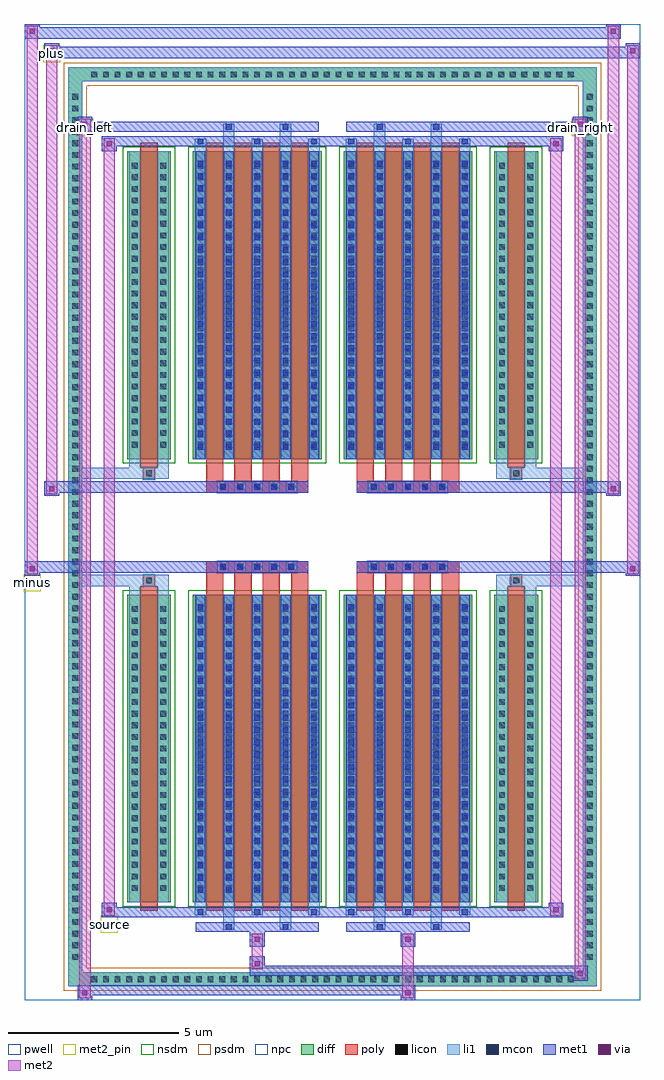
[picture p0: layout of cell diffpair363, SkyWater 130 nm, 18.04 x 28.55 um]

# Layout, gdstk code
import gdstk
lib = gdstk.Library(unit=1e-6, precision=5e-09)
def R(c, l, rs):  # rectangles x0, y0, x1, y1
    for r in rs: c.add(gdstk.rectangle(r[:2], r[2:], *l))
def A(c, l, x, y, w, h, nx, ny, dx, dy):  # array of equal rectangles
    R(c, l, [(x+i*dx, y+j*dy, x+i*dx+w, y+j*dy+h) for i in range(nx) for j in range(ny)])
def P(c, l, *ps):  # polygons
    for p in ps: c.add(gdstk.Polygon(p, *l))
pwell = (64, 44)
diff = (65, 20)
poly = (66, 20)
licon = (66, 44)
li1 = (67, 20)
mcon = (67, 44)
met1 = (68, 20)
via = (68, 44)
met2_pin = (69, 16)
met2 = (69, 20)
nsdm = (93, 44)
psdm = (94, 20)
npc = (95, 20)

diffpair363 = lib.new_cell('diffpair363')
R(diffpair363, pwell, [(-9,-13.84,9,14.71), (-6.32,-12.03,-0.01,-0.805), (0.01,-12.03,6.32,-0.805), (-6.32,0.805,-0.01,12.03), (0.01,0.805,6.32,12.03)])
A(diffpair363, diff, -7.175, -13.44, 0.41, 0.41, 42, 2, 0.34, 26.47)
A(diffpair363, diff, -7.73, -12.785, 0.41, 0.41, 1, 75, 0, 0.34)
A(diffpair363, diff, 7.32, -12.785, 0.41, 0.41, 1, 75, 0, 0.34)
R(diffpair363, diff, [(-7.175,-13.44,7.175,-13.03), (-7.73,-12.785,-7.32,12.785), (7.32,-12.785,7.73,12.785), (-6.01,-10.985,-4.73,-1.985), (-4.09,-10.985,-0.32,-1.985), (0.32,-10.985,4.09,-1.985), (4.73,-10.985,6.01,-1.985), (-6.01,1.985,-4.73,10.985), (-4.09,1.985,-0.32,10.985), (0.32,1.985,4.09,10.985), (4.73,1.985,6.01,10.985), (-7.175,13.03,7.175,13.44)])
P(diffpair363, diff, [(7.73,13.44),(-7.73,13.44),(-7.73,-13.03),(-7.32,-13.03),(-7.32,13.03),(7.32,13.03),(7.32,-13.03),(-7.32,-13.03),(-7.73,-13.03),(-7.73,-13.44),(7.73,-13.44)])
A(diffpair363, poly, -3.7, -11.235, 0.5, 9.5, 4, 2, 0.83, 12.97)
A(diffpair363, poly, 0.71, -11.235, 0.5, 9.5, 4, 2, 0.83, 12.97)
A(diffpair363, poly, -3.7, -1.735, 0.5, 0.4, 4, 2, 0.83, 3.07)
A(diffpair363, poly, 0.71, -1.735, 0.5, 0.4, 4, 2, 0.83, 3.07)
A(diffpair363, poly, -3.37, -1.335, 0.33, 0.33, 5, 2, 0.5, 2.34)
A(diffpair363, poly, 1.04, -1.335, 0.33, 0.33, 5, 2, 0.5, 2.34)
R(diffpair363, poly, [(-5.62,-11.235,-5.12,-1.735), (5.12,-11.235,5.62,-1.735), (-5.535,-1.735,-5.205,-1.405), (-5.535,-1.735,-5.205,-1.405), (5.205,-1.735,5.535,-1.405), (5.205,-1.735,5.535,-1.405), (-3.7,-1.335,-0.71,-1.005), (0.71,-1.335,3.7,-1.005), (-3.7,1.005,-0.71,1.335), (0.71,1.005,3.7,1.335), (-5.535,1.405,-5.205,1.735), (-5.535,1.405,-5.205,1.735), (5.205,1.405,5.535,1.735), (5.205,1.405,5.535,1.735), (-5.62,1.735,-5.12,11.235), (5.12,1.735,5.62,11.235)])
A(diffpair363, licon, -7.055, -13.32, 0.17, 0.17, 42, 2, 0.34, 26.47)
A(diffpair363, licon, -7.61, -12.665, 0.17, 0.17, 1, 75, 0, 0.34)
A(diffpair363, licon, 7.44, -12.665, 0.17, 0.17, 1, 75, 0, 0.34)
A(diffpair363, licon, -5.87, -10.65, 0.17, 0.17, 1, 25, 0, 0.34)
A(diffpair363, licon, -5.04, -10.65, 0.17, 0.17, 1, 25, 0, 0.34)
A(diffpair363, licon, -3.95, -10.65, 0.17, 0.17, 5, 25, 0.83, 0.34)
A(diffpair363, licon, 0.46, -10.65, 0.17, 0.17, 5, 25, 0.83, 0.34)
A(diffpair363, licon, 4.87, -10.65, 0.17, 0.17, 1, 25, 0, 0.34)
A(diffpair363, licon, 5.7, -10.65, 0.17, 0.17, 1, 25, 0, 0.34)
A(diffpair363, licon, -3.29, -1.255, 0.17, 0.17, 5, 2, 0.5, 2.34)
A(diffpair363, licon, 1.12, -1.255, 0.17, 0.17, 5, 2, 0.5, 2.34)
A(diffpair363, licon, -5.87, 2.32, 0.17, 0.17, 1, 25, 0, 0.34)
A(diffpair363, licon, -5.04, 2.32, 0.17, 0.17, 1, 25, 0, 0.34)
A(diffpair363, licon, -3.95, 2.32, 0.17, 0.17, 5, 25, 0.83, 0.34)
A(diffpair363, licon, 0.46, 2.32, 0.17, 0.17, 5, 25, 0.83, 0.34)
A(diffpair363, licon, 4.87, 2.32, 0.17, 0.17, 1, 25, 0, 0.34)
A(diffpair363, licon, 5.7, 2.32, 0.17, 0.17, 1, 25, 0, 0.34)
R(diffpair363, licon, [(-5.455,-1.655,-5.285,-1.485), (5.285,-1.655,5.455,-1.485), (-5.455,1.485,-5.285,1.655), (5.285,1.485,5.455,1.655)])
A(diffpair363, li1, -7.135, -13.4, 0.33, 0.33, 42, 2, 0.34, 26.47)
A(diffpair363, li1, -7.69, -12.745, 0.33, 0.33, 1, 75, 0, 0.34)
A(diffpair363, li1, 7.36, -12.745, 0.33, 0.33, 1, 75, 0, 0.34)
A(diffpair363, li1, -4.03, -11.36, 0.33, 0.375, 3, 2, 1.66, 22.345)
A(diffpair363, li1, -3.95, -11.36, 0.17, 0.17, 3, 2, 1.66, 22.55)
A(diffpair363, li1, 0.38, -11.36, 0.33, 0.375, 3, 2, 1.66, 22.345)
A(diffpair363, li1, 0.46, -11.36, 0.17, 0.17, 3, 2, 1.66, 22.55)
A(diffpair363, li1, -4.03, -10.985, 0.33, 9, 5, 2, 0.83, 12.97)
A(diffpair363, li1, 0.38, -10.985, 0.33, 9, 5, 2, 0.83, 12.97)
A(diffpair363, li1, -5.95, -10.73, 0.33, 0.33, 1, 25, 0, 0.34)
A(diffpair363, li1, -5.12, -10.73, 0.33, 0.33, 1, 25, 0, 0.34)
A(diffpair363, li1, -4.03, -10.73, 0.33, 0.33, 5, 25, 0.83, 0.34)
A(diffpair363, li1, 0.38, -10.73, 0.33, 0.33, 5, 25, 0.83, 0.34)
A(diffpair363, li1, 4.79, -10.73, 0.33, 0.33, 1, 25, 0, 0.34)
A(diffpair363, li1, 5.62, -10.73, 0.33, 0.33, 1, 25, 0, 0.34)
A(diffpair363, li1, -3.95, -10.71, 0.17, 0.17, 5, 24, 0.83, 0.36)
A(diffpair363, li1, -3.95, -10.71, 0.17, 8.45, 5, 2, 0.83, 12.97)
A(diffpair363, li1, 0.46, -10.71, 0.17, 0.17, 5, 24, 0.83, 0.36)
A(diffpair363, li1, 0.46, -10.71, 0.17, 8.45, 5, 2, 0.83, 12.97)
A(diffpair363, li1, -3.37, -1.335, 0.33, 0.33, 5, 2, 0.5, 2.34)
A(diffpair363, li1, 1.04, -1.335, 0.33, 0.33, 5, 2, 0.5, 2.34)
A(diffpair363, li1, -5.95, 2.24, 0.33, 0.33, 1, 25, 0, 0.34)
A(diffpair363, li1, -5.12, 2.24, 0.33, 0.33, 1, 25, 0, 0.34)
A(diffpair363, li1, -4.03, 2.24, 0.33, 0.33, 5, 25, 0.83, 0.34)
A(diffpair363, li1, 0.38, 2.24, 0.33, 0.33, 5, 25, 0.83, 0.34)
A(diffpair363, li1, 4.79, 2.24, 0.33, 0.33, 1, 25, 0, 0.34)
A(diffpair363, li1, 5.62, 2.24, 0.33, 0.33, 1, 25, 0, 0.34)
A(diffpair363, li1, -3.95, 2.26, 0.17, 0.17, 5, 24, 0.83, 0.36)
A(diffpair363, li1, 0.46, 2.26, 0.17, 0.17, 5, 24, 0.83, 0.36)
R(diffpair363, li1, [(-7.73,-13.44,-7.32,-13.03), (-7.73,-13.44,-7.32,-13.03), (-7.32,-13.44,7.32,-13.03), (7.32,-13.44,7.73,-13.03), (7.32,-13.44,7.73,-13.03), (-7.73,-13.03,-7.32,13.03), (7.32,-13.03,7.73,13.03), (-3.2,-11.79,-2.87,-10.985), (-3.12,-11.79,-2.95,-11.62), (-1.54,-11.79,-1.21,-10.985), (-1.46,-11.79,-1.29,-11.62), (1.21,-11.79,1.54,-10.985), (1.29,-11.79,1.46,-11.62), (2.87,-11.79,3.2,-10.985), (2.95,-11.79,3.12,-11.62), (-5.95,-10.985,-5.62,-1.985), (-5.12,-10.985,-4.79,-1.985), (4.79,-10.985,5.12,-1.985), (5.62,-10.985,5.95,-1.985), (-5.95,-1.985,-5.62,-1.405), (-5.12,-1.985,-4.79,-1.405), (4.79,-1.985,5.12,-1.405), (5.62,-1.985,5.95,-1.405), (-7.73,-1.735,-5.535,-1.405), (-5.95,-1.735,-5.535,-1.405), (-5.535,-1.735,-5.205,-1.405), (-5.205,-1.735,-4.79,-1.405), (4.79,-1.735,5.205,-1.405), (5.205,-1.735,5.535,-1.405), (5.205,-1.735,7.73,-1.405), (5.535,-1.735,5.95,-1.405), (-7.73,1.405,-5.535,1.735), (-5.95,1.405,-5.535,1.735), (-5.95,1.405,-5.62,1.985), (-5.535,1.405,-5.205,1.735), (-5.205,1.405,-4.79,1.735), (-5.12,1.405,-4.79,1.985), (4.79,1.405,5.205,1.735), (4.79,1.405,5.12,1.985), (5.205,1.405,5.535,1.735), (5.205,1.405,7.73,1.735), (5.535,1.405,5.95,1.735), (5.62,1.405,5.95,1.985), (-5.95,1.985,-5.62,10.985), (-5.12,1.985,-4.79,10.985), (4.79,1.985,5.12,10.985), (5.62,1.985,5.95,10.985), (-3.2,10.985,-2.87,11.79), (-1.54,10.985,-1.21,11.79), (1.21,10.985,1.54,11.79), (2.87,10.985,3.2,11.79), (-3.12,11.62,-2.95,11.79), (-1.46,11.62,-1.29,11.79), (1.29,11.62,1.46,11.79), (2.95,11.62,3.12,11.79), (-7.73,13.03,-7.32,13.44), (-7.73,13.03,-7.32,13.44), (-7.32,13.03,7.32,13.44), (7.32,13.03,7.73,13.44), (7.32,13.03,7.73,13.44)])
A(diffpair363, mcon, -3.95, -11.36, 0.17, 0.17, 3, 2, 1.66, 22.55)
A(diffpair363, mcon, 0.46, -11.36, 0.17, 0.17, 3, 2, 1.66, 22.55)
A(diffpair363, mcon, -3.95, -10.71, 0.17, 0.17, 5, 24, 0.83, 0.36)
A(diffpair363, mcon, 0.46, -10.71, 0.17, 0.17, 5, 24, 0.83, 0.36)
A(diffpair363, mcon, -3.29, -1.255, 0.17, 0.17, 5, 2, 0.5, 2.34)
A(diffpair363, mcon, 1.12, -1.255, 0.17, 0.17, 5, 2, 0.5, 2.34)
A(diffpair363, mcon, -3.95, 2.26, 0.17, 0.17, 5, 24, 0.83, 0.36)
A(diffpair363, mcon, 0.46, 2.26, 0.17, 0.17, 5, 24, 0.83, 0.36)
R(diffpair363, mcon, [(-3.12,-11.79,-2.95,-11.62), (-1.46,-11.79,-1.29,-11.62), (1.29,-11.79,1.46,-11.62), (2.95,-11.79,3.12,-11.62), (-3.12,11.62,-2.95,11.79), (-1.46,11.62,-1.29,11.79), (1.29,11.62,1.46,11.79), (2.95,11.62,3.12,11.79)])
A(diffpair363, met1, -4.01, -11.42, 0.29, 0.29, 3, 2, 1.66, 22.55)
A(diffpair363, met1, 0.4, -11.42, 0.29, 0.29, 3, 2, 1.66, 22.55)
A(diffpair363, met1, -4.01, -10.985, 0.29, 9, 5, 2, 0.83, 12.97)
A(diffpair363, met1, 0.4, -10.985, 0.29, 9, 5, 2, 0.83, 12.97)
A(diffpair363, met1, -4.01, -10.77, 0.29, 0.29, 5, 24, 0.83, 0.36)
A(diffpair363, met1, 0.4, -10.77, 0.29, 0.29, 5, 24, 0.83, 0.36)
A(diffpair363, met1, -3.35, -1.315, 0.29, 0.29, 5, 2, 0.5, 2.34)
A(diffpair363, met1, 1.06, -1.315, 0.29, 0.29, 5, 2, 0.5, 2.34)
A(diffpair363, met1, -4.01, 2.2, 0.29, 0.29, 5, 24, 0.83, 0.36)
A(diffpair363, met1, 0.4, 2.2, 0.29, 0.29, 5, 24, 0.83, 0.36)
R(diffpair363, met1, [(-7.46,-13.84,-7.03,-13.41), (1.99,-13.84,2.42,-13.41), (-7.46,-13.7,2.42,-13.41), (7.03,-13.27,7.46,-12.84), (-2.42,-13.13,7.46,-12.84), (-2.42,-12.99,-1.99,-12.56), (-2.42,-12.28,-1.99,-11.85), (1.99,-12.28,2.42,-11.85), (-4.01,-11.85,-0.4,-11.56), (-3.18,-11.85,-2.89,-11.56), (-1.52,-11.85,-1.23,-11.56), (0.4,-11.85,4.01,-11.56), (1.23,-11.85,1.52,-11.56), (2.89,-11.85,3.18,-11.56), (-6.75,-11.42,-6.32,-10.99), (-6.75,-11.42,-4.01,-11.13), (-4.01,-11.42,-0.4,-11.13), (-0.4,-11.42,0.4,-11.13), (0.4,-11.42,4.01,-11.13), (4.01,-11.42,6.75,-11.13), (6.32,-11.42,6.75,-10.99), (-9,-1.435,-8.57,-1.005), (8.57,-1.435,9,-1.005), (-9,-1.335,-0.71,-1.005), (-3.7,-1.335,-0.71,-1.005), (0.71,-1.335,3.7,-1.005), (0.71,-1.335,9,-1.005), (-8.43,0.905,-8,1.335), (8,0.905,8.43,1.335), (-8.43,1.005,-3.7,1.335), (-3.7,1.005,-0.71,1.335), (0.71,1.005,3.7,1.335), (3.7,1.005,8.43,1.335), (-6.75,10.99,-6.32,11.42), (6.32,10.99,6.75,11.42), (-6.75,11.13,-4.01,11.42), (-4.01,11.13,-0.4,11.42), (-0.4,11.13,0.4,11.42), (0.4,11.13,4.01,11.42), (4.01,11.13,6.75,11.42), (-7.46,11.56,-7.03,11.99), (-7.46,11.56,-4.01,11.85), (-4.01,11.56,-0.4,11.85), (-3.18,11.56,-2.89,11.85), (-1.52,11.56,-1.23,11.85), (0.4,11.56,4.01,11.85), (1.23,11.56,1.52,11.85), (2.89,11.56,3.18,11.85), (4.01,11.56,7.46,11.85), (7.03,11.56,7.46,11.99), (-8.43,13.71,-8,14.14), (-8.43,13.71,-6.32,14.04), (-6.32,13.71,6.32,14.04), (6.32,13.71,9,14.04), (8.57,13.71,9,14.14), (-9,14.28,-8.57,14.71), (-9,14.28,-6.32,14.61), (-6.32,14.28,6.32,14.61), (6.32,14.28,8.43,14.61), (8,14.28,8.43,14.71)])
R(diffpair363, via, [(-7.32,-13.7,-7.17,-13.55), (2.13,-13.7,2.28,-13.55), (7.17,-13.13,7.32,-12.98), (-2.28,-12.85,-2.13,-12.7), (-2.28,-12.14,-2.13,-11.99), (2.13,-12.14,2.28,-11.99), (-6.61,-11.28,-6.46,-11.13), (6.46,-11.28,6.61,-11.13), (-8.86,-1.295,-8.71,-1.145), (8.71,-1.295,8.86,-1.145), (-8.29,1.045,-8.14,1.195), (8.14,1.045,8.29,1.195), (-6.61,11.13,-6.46,11.28), (6.46,11.13,6.61,11.28), (-7.32,11.7,-7.17,11.85), (7.17,11.7,7.32,11.85), (-8.29,13.85,-8.14,14), (8.71,13.85,8.86,14), (-8.86,14.42,-8.71,14.57), (8.14,14.42,8.29,14.57)])
R(diffpair363, met2_pin, [(-6.785,-11.87,-6.285,-11.37), (-9.035,-1.885,-8.535,-1.385), (-7.495,11.44,-6.995,11.94), (6.995,11.44,7.495,11.94), (-8.465,13.59,-7.965,14.09)])
R(diffpair363, met2, [(-7.41,-13.79,-7.08,-13.46), (-7.41,-13.79,-7.08,11.94), (2.04,-13.79,2.37,-13.46), (2.04,-13.46,2.37,-12.23), (7.08,-13.22,7.41,-12.89), (7.08,-13.22,7.41,11.94), (-2.37,-12.94,-2.04,-12.61), (-2.37,-12.61,-2.04,-12.23), (-2.37,-12.23,-2.04,-11.9), (2.04,-12.23,2.37,-11.9), (-6.7,-11.37,-6.37,-11.04), (-6.7,-11.37,-6.37,11.37), (6.37,-11.37,6.7,-11.04), (6.37,-11.37,6.7,11.37), (-8.95,-1.385,-8.62,-1.055), (-8.95,-1.385,-8.62,14.66), (8.62,-1.385,8.95,-1.055), (8.62,-1.385,8.95,14.09), (-8.38,0.955,-8.05,1.285), (-8.38,0.955,-8.05,14.09), (8.05,0.955,8.38,1.285), (8.05,0.955,8.38,14.66), (-6.7,11.04,-6.37,11.37), (6.37,11.04,6.7,11.37), (-7.41,11.61,-7.08,11.94), (7.08,11.61,7.41,11.94), (-8.38,13.76,-8.05,14.09), (8.62,13.76,8.95,14.09), (-8.95,14.33,-8.62,14.66), (8.05,14.33,8.38,14.66)])
P(diffpair363, met2, [(8.95,-1.385),(8.95,-1.385),(8.95,-1.055),(8.95,-1.055)],
  [(8.95,13.76),(8.95,13.76),(8.95,14.09),(8.95,14.09)],
  [(-8.62,-1.385),(-8.62,-1.385),(-8.62,-1.055),(-8.62,-1.055)],
  [(-8.62,14.33),(-8.62,14.33),(-8.62,14.66),(-8.62,14.66)],
  [(8.38,0.955),(8.38,0.955),(8.38,1.285),(8.38,1.285)],
  [(8.38,14.33),(8.38,14.33),(8.38,14.66),(8.38,14.66)],
  [(-8.05,0.955),(-8.05,0.955),(-8.05,1.285),(-8.05,1.285)],
  [(-8.05,13.76),(-8.05,13.76),(-8.05,14.09),(-8.05,14.09)],
  [(-7.08,-13.79),(-7.08,-13.79),(-7.08,-13.46),(-7.08,-13.46)],
  [(-7.08,11.61),(-7.08,11.61),(-7.08,11.94),(-7.08,11.94)],
  [(7.41,-13.22),(7.41,-13.22),(7.41,-12.89),(7.41,-12.89)],
  [(7.41,11.61),(7.41,11.61),(7.41,11.94),(7.41,11.94)],
  [(-6.37,-11.37),(-6.37,-11.37),(-6.37,-11.04),(-6.37,-11.04)],
  [(-6.37,11.04),(-6.37,11.04),(-6.37,11.37),(-6.37,11.37)],
  [(6.7,-11.37),(6.7,-11.37),(6.7,-11.04),(6.7,-11.04)],
  [(6.7,11.04),(6.7,11.04),(6.7,11.37),(6.7,11.37)])
R(diffpair363, nsdm, [(-6.14,-11.115,-4.6,-1.855), (-4.22,-11.115,-0.19,-1.855), (0.19,-11.115,4.22,-1.855), (4.6,-11.115,6.14,-1.855), (-6.14,1.855,-4.6,11.115), (-4.22,1.855,-0.19,11.115), (0.19,1.855,4.22,11.115), (4.6,1.855,6.14,11.115)])
P(diffpair363, psdm, [(7.86,13.57),(-7.86,13.57),(-7.86,-12.9),(-7.19,-12.9),(-7.19,12.9),(7.19,12.9),(7.19,-12.9),(-7.19,-12.9),(-7.86,-12.9),(-7.86,-13.57),(7.86,-13.57)])
A(diffpair363, npc, -3.39, -1.355, 0.37, 0.37, 5, 2, 0.5, 2.34)
A(diffpair363, npc, 1.02, -1.355, 0.37, 0.37, 5, 2, 0.5, 2.34)
R(diffpair363, npc, [(-5.555,-1.755,-5.185,-1.385), (5.185,-1.755,5.555,-1.385), (-3.39,-1.355,-2.52,-0.985), (-3.39,-1.355,-2.52,-0.985), (-2.89,-1.355,-2.02,-0.985), (-2.89,-1.355,-2.02,-0.985), (-2.39,-1.355,-1.52,-0.985), (-2.39,-1.355,-1.52,-0.985), (-1.89,-1.355,-1.02,-0.985), (-1.89,-1.355,-1.02,-0.985), (1.02,-1.355,1.89,-0.985), (1.02,-1.355,1.89,-0.985), (1.52,-1.355,2.39,-0.985), (1.52,-1.355,2.39,-0.985), (2.02,-1.355,2.89,-0.985), (2.02,-1.355,2.89,-0.985), (2.52,-1.355,3.39,-0.985), (2.52,-1.355,3.39,-0.985), (-3.39,0.985,-2.52,1.355), (-3.39,0.985,-2.52,1.355), (-2.89,0.985,-2.02,1.355), (-2.89,0.985,-2.02,1.355), (-2.39,0.985,-1.52,1.355), (-2.39,0.985,-1.52,1.355), (-1.89,0.985,-1.02,1.355), (-1.89,0.985,-1.02,1.355), (1.02,0.985,1.89,1.355), (1.02,0.985,1.89,1.355), (1.52,0.985,2.39,1.355), (1.52,0.985,2.39,1.355), (2.02,0.985,2.89,1.355), (2.02,0.985,2.89,1.355), (2.52,0.985,3.39,1.355), (2.52,0.985,3.39,1.355), (-5.555,1.385,-5.185,1.755), (5.185,1.385,5.555,1.755)])
diffpair363.add(gdstk.Label('minus', (-8.785,-1.635), layer=69, texttype=5))
diffpair363.add(gdstk.Label('drain_right', (7.245,11.69), layer=69, texttype=5))
diffpair363.add(gdstk.Label('drain_left', (-7.245,11.69), layer=69, texttype=5))
diffpair363.add(gdstk.Label('source', (-6.535,-11.62), layer=69, texttype=5))
diffpair363.add(gdstk.Label('plus', (-8.215,13.84), layer=69, texttype=5))

lib.write_gds('diffpair363.gds')
